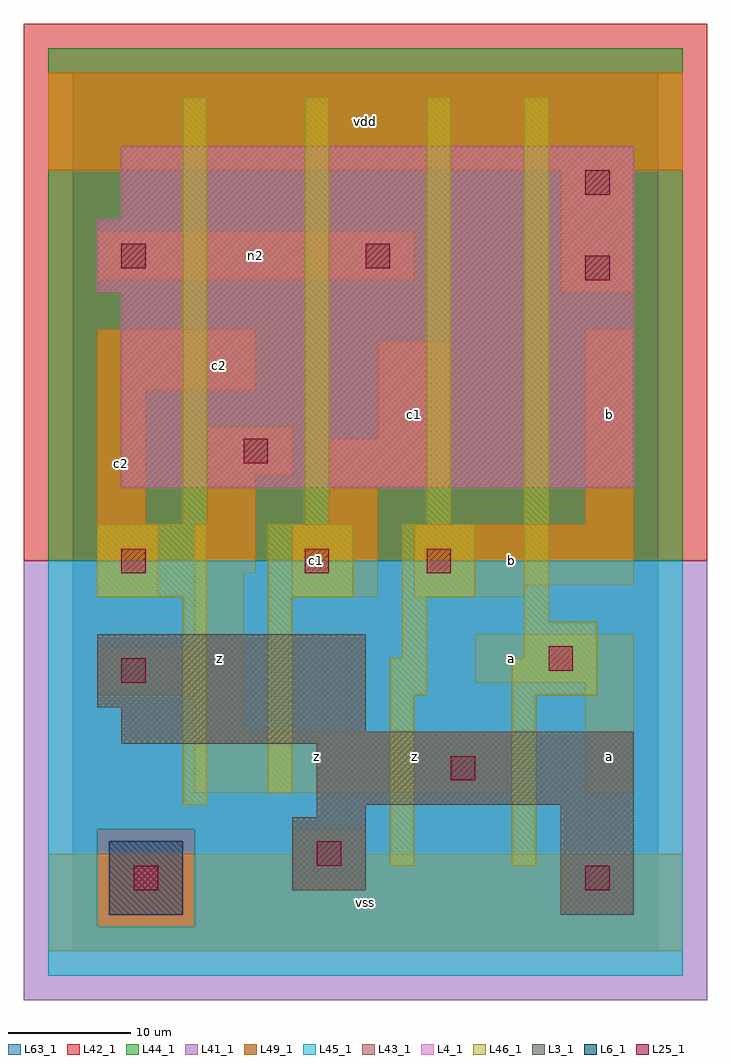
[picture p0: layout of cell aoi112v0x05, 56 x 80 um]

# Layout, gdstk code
import gdstk
lib = gdstk.Library(unit=1e-6, precision=1e-09)
def R(c, l, rs):  # rectangles x0, y0, x1, y1
    for r in rs: c.add(gdstk.rectangle(r[:2], r[2:], *l))
def A(c, l, x, y, w, h, nx, ny, dx, dy):  # array of equal rectangles
    R(c, l, [(x+i*dx, y+j*dy, x+i*dx+w, y+j*dy+h) for i in range(nx) for j in range(ny)])
L3_1 = (3, 1)
L4_1 = (4, 1)
L6_1 = (6, 1)
L25_1 = (25, 1)
L41_1 = (41, 1)
L42_1 = (42, 1)
L43_1 = (43, 1)
L44_1 = (44, 1)
L45_1 = (45, 1)
L46_1 = (46, 1)
L49_1 = (49, 1)
L63_1 = (63, 1)

aoi112v0x05 = lib.new_cell('aoi112v0x05')
R(aoi112v0x05, L3_1, [(40,3,46,12), (18,5,24,11), (20,11,24,12), (20,12,46,17), (4,17,46,18), (4,18,24,20), (2,20,24,26)])
R(aoi112v0x05, L4_1, [(4,38,46,54), (2,54,46,60), (4,60,46,66)])
R(aoi112v0x05, L6_1, [(3,3,9,9), (3,3,9,9)])
R(aoi112v0x05, L25_1, [(5,5,7,7), (42,5,44,7), (20,7,22,9), (31,14,33,16), (4,22,6,24), (39,23,41,25), (4,31,6,33), (19,31,21,33), (29,31,31,33), (14,40,16,42), (42,55,44,57), (4,56,6,58), (24,56,26,58), (42,62,44,64)])
R(aoi112v0x05, L41_1, [(-4,-4,52,32)])
R(aoi112v0x05, L42_1, [(-4,32,52,76)])
R(aoi112v0x05, L43_1, [(3,3,9,9), (40,3,46,12), (18,5,24,11), (20,11,24,12), (20,12,46,17), (4,17,46,18), (4,18,24,20), (2,20,24,26), (4,38,46,54), (2,54,46,60), (4,60,46,66)])
R(aoi112v0x05, L44_1, [(2,2,10,10), (-2,32,50,74)])
R(aoi112v0x05, L45_1, [(-2,-2,50,2), (-2,2,2,10), (10,2,50,10), (-2,10,50,32)])
A(aoi112v0x05, L46_1, 9, 35, 2, 35, 3, 1, 10, 0)
R(aoi112v0x05, L46_1, [(26,7,28,21), (36,7,38,21), (9,12,11,29), (16,13,18,29), (26,21,29,24), (36,21,43,24), (27,24,29,29), (37,24,43,27), (37,27,39,70), (2,29,11,35), (16,29,23,35), (27,29,33,35)])
R(aoi112v0x05, L49_1, [(-2,0,50,8), (18,8,24,10), (10,13,36,18), (42,13,46,22), (10,18,14,21), (2,21,14,25), (33,22,46,26), (10,25,14,31), (2,29,7,35), (18,29,25,35), (28,29,37,30), (28,30,46,35), (10,31,15,35), (2,35,6,46), (11,35,15,39), (21,35,25,38), (42,35,46,51), (21,38,31,42), (11,39,18,43), (25,42,31,50), (2,46,15,51), (40,54,46,64), (2,55,28,59), (-2,64,50,72)])
R(aoi112v0x05, L63_1, [(0,0,48,72)])
aoi112v0x05.add(gdstk.Label('c2', (4,40), layer=49, texttype=1))
aoi112v0x05.add(gdstk.Label('z', (20,16), layer=49, texttype=1))
aoi112v0x05.add(gdstk.Label('z', (12,24), layer=49, texttype=1))
aoi112v0x05.add(gdstk.Label('c1', (20,32), layer=49, texttype=1))
aoi112v0x05.add(gdstk.Label('c2', (12,48), layer=49, texttype=1))
aoi112v0x05.add(gdstk.Label('vss', (24,4), layer=49, texttype=1))
aoi112v0x05.add(gdstk.Label('z', (28,16), layer=49, texttype=1))
aoi112v0x05.add(gdstk.Label('c1', (28,44), layer=49, texttype=1))
aoi112v0x05.add(gdstk.Label('n2', (15,57), layer=49, texttype=1))
aoi112v0x05.add(gdstk.Label('vdd', (24,68), layer=49, texttype=1))
aoi112v0x05.add(gdstk.Label('a', (44,16), layer=49, texttype=1))
aoi112v0x05.add(gdstk.Label('b', (36,32), layer=49, texttype=1))
aoi112v0x05.add(gdstk.Label('a', (36,24), layer=49, texttype=1))
aoi112v0x05.add(gdstk.Label('b', (44,44), layer=49, texttype=1))

lib.write_gds('aoi112v0x05.gds')
